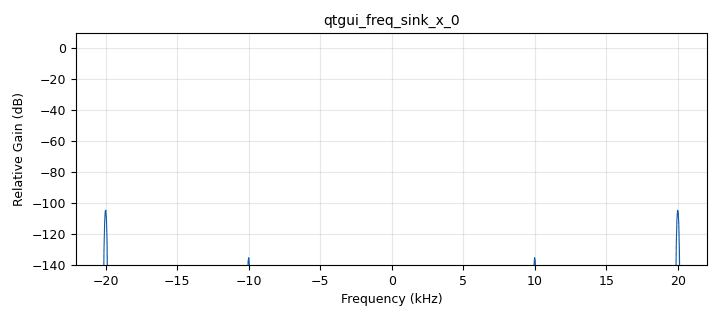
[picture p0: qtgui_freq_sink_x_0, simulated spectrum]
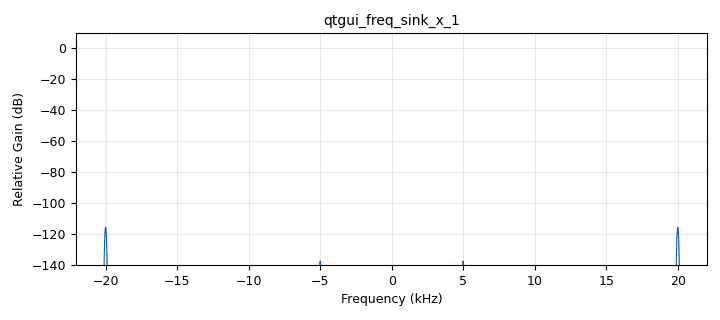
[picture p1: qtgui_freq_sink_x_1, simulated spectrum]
options:
  parameters:
    author: pranav
    generate_options: qt_gui
    id: p4
    output_language: python
    title: IQ Modulation/Demodulation
  states: {}

blocks:
- name: quadrature_rate
  id: variable
  parameters:
    value: 1200e3
  states: {}
- name: samp_rate
  id: variable
  parameters:
    value: 44.1e3
  states: {}
- name: analog_sig_source_x_0
  id: analog_sig_source_x
  parameters:
    amp: '1'
    freq: '100000'
    offset: '0'
    phase: '0'
    samp_rate: quadrature_rate
    type: float
    waveform: analog.GR_COS_WAVE
  states: {}
- name: analog_sig_source_x_0_0
  id: analog_sig_source_x
  parameters:
    amp: '1'
    freq: '100000'
    offset: '0'
    phase: '0'
    samp_rate: quadrature_rate
    type: float
    waveform: analog.GR_SIN_WAVE
  states: {}
- name: analog_sig_source_x_0_0_0
  id: analog_sig_source_x
  parameters:
    amp: '1'
    freq: '100000'
    offset: '0'
    phase: '0'
    samp_rate: quadrature_rate
    type: float
    waveform: analog.GR_SIN_WAVE
  states: {}
- name: analog_sig_source_x_0_0_0_0
  id: analog_sig_source_x
  parameters:
    amp: '1'
    freq: '100000'
    offset: '0'
    phase: '0'
    samp_rate: quadrature_rate
    type: float
    waveform: analog.GR_COS_WAVE
  states: {}
- name: analog_sig_source_x_1
  id: analog_sig_source_x
  parameters:
    amp: '1'
    freq: '10000'
    offset: '0'
    phase: '0'
    samp_rate: samp_rate
    type: float
    waveform: analog.GR_COS_WAVE
  states: {}
- name: analog_sig_source_x_1_0
  id: analog_sig_source_x
  parameters:
    amp: '1'
    freq: '5000'
    offset: '0'
    phase: '0'
    samp_rate: samp_rate
    type: float
    waveform: analog.GR_COS_WAVE
  states: {}
- name: blocks_add_xx_0
  id: blocks_add_xx
  parameters:
    type: float
  states: {}
- name: blocks_multiply_xx_0
  id: blocks_multiply_xx
  parameters:
    type: float
  states: {}
- name: blocks_multiply_xx_0_0
  id: blocks_multiply_xx
  parameters:
    type: float
  states: {}
- name: blocks_multiply_xx_1
  id: blocks_multiply_xx
  parameters:
    type: float
  states: {}
- name: blocks_multiply_xx_1_0
  id: blocks_multiply_xx
  parameters:
    type: float
  states: {}
- name: low_pass_filter_0
  id: low_pass_filter
  parameters:
    cutoff_freq: 20e3
    decim: '1'
    gain: '1'
    samp_rate: quadrature_rate
    type: fir_filter_fff
    width: '10'
    win: firdes.WIN_HAMMING
  states: {}
- name: low_pass_filter_0_0
  id: low_pass_filter
  parameters:
    cutoff_freq: 20e3
    decim: '1'
    gain: '1'
    samp_rate: quadrature_rate
    type: fir_filter_fff
    width: '10'
    win: firdes.WIN_HAMMING
  states: {}
- name: qtgui_freq_sink_x_0
  id: qtgui_freq_sink_x
  parameters:
    bw: samp_rate
    fc: '0'
    fftsize: '1024'
    type: float
    wintype: firdes.WIN_BLACKMAN_hARRIS
  states: {}
- name: qtgui_freq_sink_x_1
  id: qtgui_freq_sink_x
  parameters:
    bw: samp_rate
    fc: '0'
    fftsize: '1024'
    type: float
    wintype: firdes.WIN_BLACKMAN_hARRIS
  states: {}
- name: rational_resampler_xxx_0
  id: rational_resampler_xxx
  parameters:
    decim: '441'
    fbw: '0.4'
    interp: '12000'
    taps: ''
    type: fff
  states: {}
- name: rational_resampler_xxx_0_0
  id: rational_resampler_xxx
  parameters:
    decim: '441'
    fbw: '0.4'
    interp: '12000'
    taps: ''
    type: fff
  states: {}
- name: rational_resampler_xxx_1
  id: rational_resampler_xxx
  parameters:
    decim: '12000'
    fbw: '0.4'
    interp: '441'
    taps: ''
    type: fff
  states: {}
- name: rational_resampler_xxx_1_0
  id: rational_resampler_xxx
  parameters:
    decim: '12000'
    fbw: '0.4'
    interp: '441'
    taps: ''
    type: fff
  states: {}

connections:
- [analog_sig_source_x_0, '0', blocks_multiply_xx_0_0, '1']
- [analog_sig_source_x_0_0, '0', blocks_multiply_xx_0, '1']
- [analog_sig_source_x_0_0_0, '0', blocks_multiply_xx_1, '1']
- [analog_sig_source_x_0_0_0_0, '0', blocks_multiply_xx_1_0, '1']
- [analog_sig_source_x_1, '0', rational_resampler_xxx_0, '0']
- [analog_sig_source_x_1_0, '0', rational_resampler_xxx_0_0, '0']
- [blocks_add_xx_0, '0', blocks_multiply_xx_1, '0']
- [blocks_add_xx_0, '0', blocks_multiply_xx_1_0, '0']
- [blocks_multiply_xx_0, '0', blocks_add_xx_0, '0']
- [blocks_multiply_xx_0_0, '0', blocks_add_xx_0, '1']
- [blocks_multiply_xx_1, '0', low_pass_filter_0, '0']
- [blocks_multiply_xx_1_0, '0', low_pass_filter_0_0, '0']
- [low_pass_filter_0, '0', rational_resampler_xxx_1, '0']
- [low_pass_filter_0_0, '0', rational_resampler_xxx_1_0, '0']
- [rational_resampler_xxx_0, '0', blocks_multiply_xx_0, '0']
- [rational_resampler_xxx_0_0, '0', blocks_multiply_xx_0_0, '0']
- [rational_resampler_xxx_1, '0', qtgui_freq_sink_x_0, '0']
- [rational_resampler_xxx_1_0, '0', qtgui_freq_sink_x_1, '0']

metadata:
  file_format: 1
